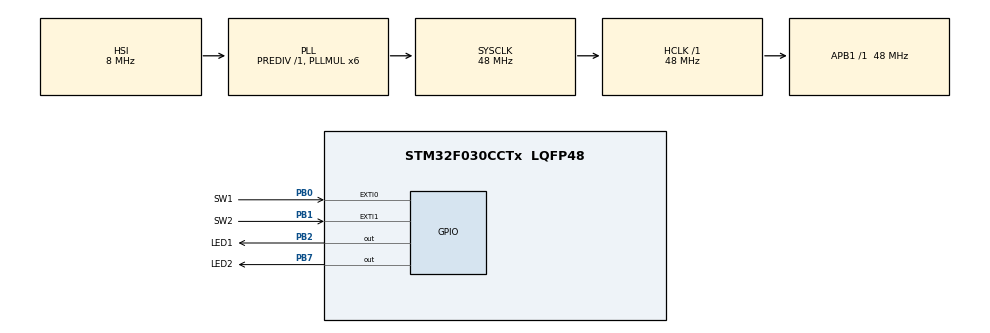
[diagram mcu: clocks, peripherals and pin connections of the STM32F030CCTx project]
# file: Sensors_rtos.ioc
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Mcu.Family=STM32F0
Mcu.Name=STM32F030CCTx
Mcu.Package=LQFP48
NVIC.TIM7_IRQn=true\:3\:0\:false\:false\:true\:false\:true\:true
NVIC.TimeBase=TIM7_IRQn
NVIC.TimeBaseIP=TIM7
PA13.Mode=Serial_Wire
PA13.Signal=SYS_SWDIO
PA14.Mode=Serial_Wire
PA14.Signal=SYS_SWCLK
PB0.GPIO_Label=SW1
PB0.GPIO_ModeDefaultEXTI=GPIO_MODE_IT_FALLING
PB0.Signal=GPXTI0
PB1.GPIO_Label=SW2
PB1.GPIO_ModeDefaultEXTI=GPIO_MODE_IT_FALLING
PB1.Signal=GPXTI1
PB2.GPIO_Label=LED1
PB2.Signal=GPIO_Output
PB7.GPIO_Label=LED2
PB7.Signal=GPIO_Output
ProjectManager.HeapSize=0x200
ProjectManager.StackSize=0x400
ProjectManager.TargetToolchain=STM32CubeIDE
RCC.AHBFreq_Value=48000000
RCC.APB1Freq_Value=48000000
RCC.APB1TimFreq_Value=48000000
RCC.HCLKFreq_Value=48000000
RCC.PLLMUL=RCC_PLL_MUL6
RCC.SYSCLKFreq_VALUE=48000000
RCC.SYSCLKSource=RCC_SYSCLKSOURCE_PLLCLK
VP_SYS_VS_tim7.Mode=TIM7
board=custom

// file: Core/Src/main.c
/* USER CODE BEGIN Header */
/**
  ******************************************************************************
  * @file           : main.c
  * @brief          : Main program body
  ******************************************************************************
  * @attention
  *
  * Copyright (c) 2022 STMicroelectronics.
  * All rights reserved.
  *
  * This software is licensed under terms that can be found in the LICENSE file
  * in the root directory of this software component.
  * If no LICENSE file comes with this software, it is provided AS-IS.
  *
  ******************************************************************************
  */
/* USER CODE END Header */
#include "main.h"
#include "gpio.h"

/* USER CODE BEGIN Includes */
#include "FreeRTOS.h"
#include "task.h"
/* USER CODE END Includes */

/* USER CODE BEGIN PTD */
void LedTask( void* argument );
/* USER CODE END PTD */

/* USER CODE BEGIN PD */
TaskHandle_t ledTaskHandle;
BaseType_t status;
/* USER CODE END PD */

/* USER CODE BEGIN PM */
#define STACK_SIZE 128
/* USER CODE END PM */

void SystemClock_Config(void);

int main(void)
{

  /* MCU Configuration--------------------------------------------------------*/

  /* Reset of all peripherals, Initializes the Flash interface and the Systick. */
  HAL_Init();

  /* Configure the system clock */
  SystemClock_Config();

  /* Initialize all configured peripherals */
  MX_GPIO_Init();
  /* USER CODE BEGIN 2 */

  status = xTaskCreate(LedTask, "LedTask", STACK_SIZE, NULL, tskIDLE_PRIORITY + 1, &ledTaskHandle);

  configASSERT(status = pdPASS);

  HAL_GPIO_WritePin(LED1_GPIO_Port, LED1_Pin, GPIO_PIN_SET); //if tasks creation is successful - switch on RED led

  vTaskStartScheduler();

  /* USER CODE END 2 */

  /* Infinite loop */
  while (1)
  {

  }
}

void SystemClock_Config(void)
{
  RCC_OscInitTypeDef RCC_OscInitStruct = {0};
  RCC_ClkInitTypeDef RCC_ClkInitStruct = {0};

  /** Initializes the RCC Oscillators according to the specified parameters
  * in the RCC_OscInitTypeDef structure.
  */
  RCC_OscInitStruct.OscillatorType = RCC_OSCILLATORTYPE_HSI;
  RCC_OscInitStruct.HSIState = RCC_HSI_ON;
  RCC_OscInitStruct.HSICalibrationValue = RCC_HSICALIBRATION_DEFAULT;
  RCC_OscInitStruct.PLL.PLLState = RCC_PLL_ON;
  RCC_OscInitStruct.PLL.PLLSource = RCC_PLLSOURCE_HSI;
  RCC_OscInitStruct.PLL.PLLMUL = RCC_PLL_MUL6;
  RCC_OscInitStruct.PLL.PREDIV = RCC_PREDIV_DIV1;
  if (HAL_RCC_OscConfig(&RCC_OscInitStruct) != HAL_OK)
  {
    Error_Handler();
  }

  /** Initializes the CPU, AHB and APB buses clocks
  */
  RCC_ClkInitStruct.ClockType = RCC_CLOCKTYPE_HCLK|RCC_CLOCKTYPE_SYSCLK
                              |RCC_CLOCKTYPE_PCLK1;
  RCC_ClkInitStruct.SYSCLKSource = RCC_SYSCLKSOURCE_PLLCLK;
  RCC_ClkInitStruct.AHBCLKDivider = RCC_SYSCLK_DIV1;
  RCC_ClkInitStruct.APB1CLKDivider = RCC_HCLK_DIV1;

  if (HAL_RCC_ClockConfig(&RCC_ClkInitStruct, FLASH_LATENCY_1) != HAL_OK)
  {
    Error_Handler();
  }
}

/* USER CODE BEGIN 4 */

void LedTask( void* argument )
{
	while(1)
	{

		HAL_GPIO_WritePin(LED1_GPIO_Port, LED2_Pin, GPIO_PIN_SET);
		vTaskDelay(200 / portTICK_PERIOD_MS);
		HAL_GPIO_WritePin(LED1_GPIO_Port, LED2_Pin, GPIO_PIN_RESET);
		vTaskDelay(200 / portTICK_PERIOD_MS);
	}
}

/* USER CODE END 4 */

void HAL_TIM_PeriodElapsedCallback(TIM_HandleTypeDef *htim)
{
  if (htim->Instance == TIM7) {
    HAL_IncTick();
  }
}

void Error_Handler(void)
{
  __disable_irq();
  while (1)
  {
  }
}
